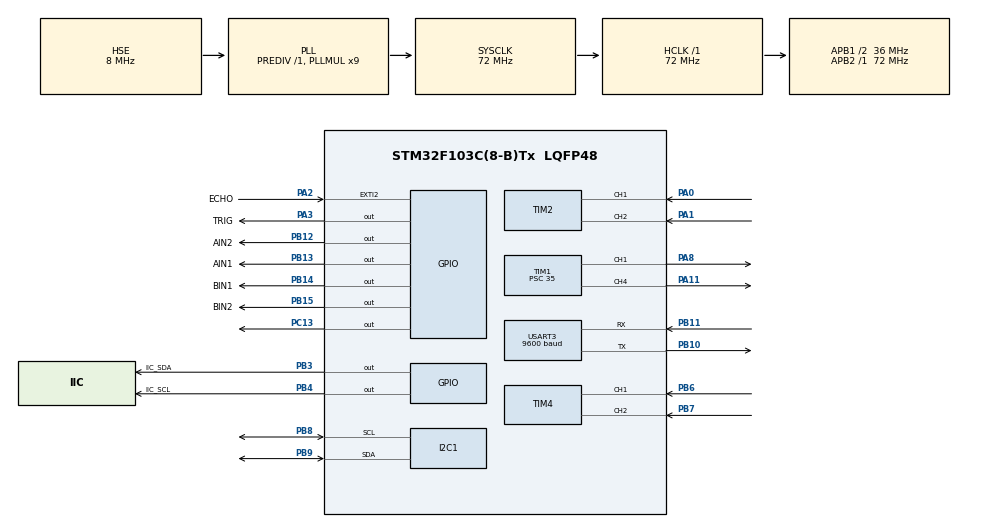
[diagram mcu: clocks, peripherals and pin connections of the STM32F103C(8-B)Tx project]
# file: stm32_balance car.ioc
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I2C1.I2C_Mode=I2C_Fast
Mcu.Family=STM32F1
Mcu.Name=STM32F103C(8-B)Tx
Mcu.Package=LQFP48
NVIC.EXTI2_IRQn=true\:3\:0\:true\:false\:true\:true\:true\:true
NVIC.PriorityGroup=NVIC_PRIORITYGROUP_4
NVIC.TIM3_IRQn=true\:0\:0\:false\:false\:true\:true\:true\:true
NVIC.USART3_IRQn=true\:1\:0\:true\:false\:true\:true\:true\:true
PA0-WKUP.GPIO_PuPd=GPIO_NOPULL
PA0-WKUP.Signal=S_TIM2_CH1_ETR
PA1.GPIO_PuPd=GPIO_NOPULL
PA1.Signal=S_TIM2_CH2
PA11.Signal=S_TIM1_CH4
PA13.Mode=Serial_Wire
PA13.Signal=SYS_JTMS-SWDIO
PA14.Mode=Serial_Wire
PA14.Signal=SYS_JTCK-SWCLK
PA2.GPIO_Label=ECHO
PA2.GPIO_ModeDefaultEXTI=GPIO_MODE_IT_RISING_FALLING
PA2.Signal=GPXTI2
PA3.GPIO_Label=TRIG
PA3.GPIO_PuPd=GPIO_PULLUP
PA3.GPIO_Speed=GPIO_SPEED_FREQ_HIGH
PA3.Signal=GPIO_Output
PA8.Signal=S_TIM1_CH1
PB10.Mode=Asynchronous
PB10.Signal=USART3_TX
PB11.Mode=Asynchronous
PB11.Signal=USART3_RX
PB12.GPIO_Label=AIN2
PB12.Signal=GPIO_Output
PB13.GPIO_Label=AIN1
PB13.Signal=GPIO_Output
PB14.GPIO_Label=BIN1
PB14.Signal=GPIO_Output
PB15.GPIO_Label=BIN2
PB15.Signal=GPIO_Output
PB3.GPIO_Label=IIC_SDA
PB3.GPIO_ModeDefaultOutputPP=GPIO_MODE_OUTPUT_OD
PB3.GPIO_PuPd=GPIO_PULLUP
PB3.PinState=GPIO_PIN_SET
PB3.Signal=GPIO_Output
PB4.GPIO_Label=IIC_SCL
PB4.GPIO_ModeDefaultOutputPP=GPIO_MODE_OUTPUT_OD
PB4.GPIO_PuPd=GPIO_PULLUP
PB4.PinState=GPIO_PIN_SET
PB4.Signal=GPIO_Output
PB6.GPIO_Mode=GPIO_MODE_INPUT
PB6.GPIO_PuPd=GPIO_NOPULL
PB6.Signal=S_TIM4_CH1
PB7.GPIO_PuPd=GPIO_NOPULL
PB7.Signal=S_TIM4_CH2
PB8.GPIO_Speed=GPIO_SPEED_FREQ_HIGH
PB8.Mode=I2C
PB8.Signal=I2C1_SCL
PB9.GPIO_Mode=GPIO_MODE_AF_OD
PB9.GPIO_Speed=GPIO_SPEED_FREQ_HIGH
PB9.Mode=I2C
PB9.Signal=I2C1_SDA
PC13-TAMPER-RTC.Signal=GPIO_Output
PC14-OSC32_IN.Mode=LSE-External-Oscillator
PC14-OSC32_IN.Signal=RCC_OSC32_IN
PC15-OSC32_OUT.Mode=LSE-External-Oscillator
PC15-OSC32_OUT.Signal=RCC_OSC32_OUT
PD0-OSC_IN.Mode=HSE-External-Oscillator
PD0-OSC_IN.Signal=RCC_OSC_IN
PD1-OSC_OUT.Mode=HSE-External-Oscillator
PD1-OSC_OUT.Signal=RCC_OSC_OUT
ProjectManager.HeapSize=0x200
ProjectManager.StackSize=0x400
ProjectManager.TargetToolchain=MDK-ARM V5.32
RCC.AHBFreq_Value=72000000
RCC.APB1CLKDivider=RCC_HCLK_DIV2
RCC.APB1Freq_Value=36000000
RCC.APB1TimFreq_Value=72000000
RCC.APB2Freq_Value=72000000
RCC.APB2TimFreq_Value=72000000
RCC.HCLKFreq_Value=72000000
RCC.PLLMUL=RCC_PLL_MUL9
RCC.PLLSourceVirtual=RCC_PLLSOURCE_HSE
RCC.SYSCLKFreq_VALUE=72000000
RCC.SYSCLKSource=RCC_SYSCLKSOURCE_PLLCLK
RCC.USBFreq_Value=72000000
SH.S_TIM1_CH1.0=TIM1_CH1,PWM Generation1 CH1
SH.S_TIM1_CH4.0=TIM1_CH4,PWM Generation4 CH4
SH.S_TIM2_CH1_ETR.0=TIM2_CH1,Encoder_Interface
SH.S_TIM2_CH2.0=TIM2_CH2,Encoder_Interface
SH.S_TIM4_CH1.0=TIM4_CH1,Encoder_Interface
SH.S_TIM4_CH2.0=TIM4_CH2,Encoder_Interface
TIM1.AutoReloadPreload=TIM_AUTORELOAD_PRELOAD_ENABLE
TIM1.Channel-PWM\ Generation1\ CH1=TIM_CHANNEL_1
TIM1.Channel-PWM\ Generation4\ CH4=TIM_CHANNEL_4
TIM1.Period=99
TIM1.Prescaler=35
TIM1.Pulse-PWM\ Generation1\ CH1=0
TIM1.Pulse-PWM\ Generation4\ CH4=0
TIM2.EncoderMode=TIM_ENCODERMODE_TI12
TIM3.AutoReloadPreload=TIM_AUTORELOAD_PRELOAD_ENABLE
TIM3.Period=999
TIM3.Prescaler=71
TIM4.EncoderMode=TIM_ENCODERMODE_TI12
USART3.BaudRate=9600
USART3.VirtualMode=VM_ASYNC
VP_TIM3_VS_ClockSourceINT.Mode=Internal
board=custom

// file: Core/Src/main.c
/* USER CODE BEGIN Header */
/**
  ******************************************************************************
  * @file           : main.c
  * @brief          : Main program body
  ******************************************************************************
  * @attention
  *
  * Copyright (c) 2026 STMicroelectronics.
  * All rights reserved.
  *
  * This software is licensed under terms that can be found in the LICENSE file
  * in the root directory of this software component.
  * If no LICENSE file comes with this software, it is provided AS-IS.
  *
  ******************************************************************************
  */
/* USER CODE END Header */
#include "main.h"
#include "i2c.h"
#include "tim.h"
#include "usart.h"
#include "gpio.h"

/* USER CODE BEGIN Includes */
#include "OLED.h"
#include "MPU6050.h"
#include "stdio.h"
#include "sr04.h"
#include "motor.h"
#include "encoder.h"
#include "string.h"
#include "task.h"
#include "pid.h"
#include "stdlib.h"
/* USER CODE END Includes */

/* USER CODE BEGIN PV */
int16_t AX, AY, AZ, GX, GY, GZ,Tem;
float AngleAcc;			//由加速度计得到的角度值
float AngleGyro;		//由陀螺仪得到的角度值，执行互补滤波后，此值基本与Angle相等
float Angle;			//互补滤波后的角度值，准确且无漂移

int Encoder_Left,Encoder_Right;
extern float distance;
uint8_t rx_buf[2];
char uart_buf[128];
uint8_t Rx_Flag;
char RxPacket[100];
int16_t LeftPWM, RightPWM;			//左PWM，右PWM
int16_t Ave_PWM, Dif_PWM;				//平均PWM，差分PWM

float LeftSpeed, RightSpeed;		//左速度，右速度
float AveSpeed, DifSpeed;			//平均速度，差分速度
uint8_t Run_Flag;
volatile uint8_t control_flag=0;
PID_TypeDef angle_pid={
	.Kp=0.0f,
	.Ki=0.0f,
	.Kd=0.0f,
	.out_max=90.0f
};
PID_TypeDef speed_pid={
	.Kp=0.0f,
	.Ki=0.0f,
	.Kd=0.0f,
	.integral_max=20,
	.out_max=8.0f
};
PID_TypeDef turn_pid=
{
	.Kp=0.0f,
	.Ki=0.0f,
	.Kd=0.0f,
	.out_max=20.0f
};
/* USER CODE END PV */

void SystemClock_Config(void);
/* USER CODE BEGIN PFP */
void Read(void);
int fputc(int c,FILE *stream);
static void OLED_Proc(void);
void Set_params(void);
void Control(void);

// DWT初始化，开启CYCCNT计数器
void DWT_Init(void)
{
    // 1. 开启DWT和ITM的时钟（必须）
    CoreDebug->DEMCR |= CoreDebug_DEMCR_TRCENA_Msk;
    // 2. 关闭CYCCNT计数器
    DWT->CTRL &= ~DWT_CTRL_CYCCNTENA_Msk;
    // 3. 清零CYCCNT计数器
    DWT->CYCCNT = 0;
    // 4. 开启CYCCNT计数器
    DWT->CTRL |= DWT_CTRL_CYCCNTENA_Msk;
}

// 读取当前CYCCNT计数器的值（单位：CPU时钟周期）
static inline uint32_t DWT_GetCycle(void)
{
    return DWT->CYCCNT;
}

// 延时函数：微秒级延时（单位：us）
void DWT_Delay_us(uint32_t us)
{
    uint32_t cycles = us * (SystemCoreClock / 1000000); // 换算成需要等待的周期数
    uint32_t start = DWT_GetCycle();
    while ((DWT_GetCycle() - start) < cycles);
}

// 测量一段代码的执行时间（返回单位：us）
float DWT_MeasureTime_us(void (*func)(void))
{
    uint32_t start, end;
    start = DWT_GetCycle();
    func();  // 执行你要测的函数，比如OLED_DMA_Refresh()
    end = DWT_GetCycle();
    return (float)(end - start) / (SystemCoreClock / 1000000);
}
/* USER CODE END PFP */

int main(void)
{

  /* MCU Configuration--------------------------------------------------------*/

  /* Reset of all peripherals, Initializes the Flash interface and the Systick. */
  HAL_Init();

  /* Configure the system clock */
  SystemClock_Config();

  /* Initialize all configured peripherals */
  MX_GPIO_Init();
  MX_I2C1_Init();
  MX_TIM3_Init();
  MX_TIM1_Init();
  MX_TIM2_Init();
  MX_TIM4_Init();
  MX_USART3_UART_Init();
  /* USER CODE BEGIN 2 */
  IIC_Init();
  OLED_Init();
  MPU6050_Init();
  OLED_Clear();
  HAL_TIM_PWM_Start(&htim1,TIM_CHANNEL_1);
  HAL_TIM_PWM_Start(&htim1,TIM_CHANNEL_4);
  HAL_TIM_Encoder_Start(&htim2,TIM_CHANNEL_ALL);
  HAL_TIM_Encoder_Start(&htim4,TIM_CHANNEL_ALL);
  HAL_UART_Receive_IT(&huart3,rx_buf,1);
  Load(0,0);
  MPU6050_SetMode(MODE_COMPLEMENTARY);
  HAL_TIM_Base_Start_IT(&htim3);
  DWT_Init();
  /* USER CODE END 2 */

  /* Infinite loop */
  /* USER CODE BEGIN WHILE */
  PID_Init(&angle_pid);
  PID_Init(&speed_pid);
  PID_Init(&turn_pid);
  Run_Flag=1;
  while (1)
  {
	  Set_params();
	  if(control_flag)
	  {
		  control_flag=0;
		  Control();
	  }
  }
    /* USER CODE END WHILE */

}

void SystemClock_Config(void)
{
  RCC_OscInitTypeDef RCC_OscInitStruct = {0};
  RCC_ClkInitTypeDef RCC_ClkInitStruct = {0};

  /** Initializes the RCC Oscillators according to the specified parameters
  * in the RCC_OscInitTypeDef structure.
  */
  RCC_OscInitStruct.OscillatorType = RCC_OSCILLATORTYPE_HSE;
  RCC_OscInitStruct.HSEState = RCC_HSE_ON;
  RCC_OscInitStruct.HSEPredivValue = RCC_HSE_PREDIV_DIV1;
  RCC_OscInitStruct.HSIState = RCC_HSI_ON;
  RCC_OscInitStruct.PLL.PLLState = RCC_PLL_ON;
  RCC_OscInitStruct.PLL.PLLSource = RCC_PLLSOURCE_HSE;
  RCC_OscInitStruct.PLL.PLLMUL = RCC_PLL_MUL9;
  if (HAL_RCC_OscConfig(&RCC_OscInitStruct) != HAL_OK)
  {
    Error_Handler();
  }

  /** Initializes the CPU, AHB and APB buses clocks
  */
  RCC_ClkInitStruct.ClockType = RCC_CLOCKTYPE_HCLK|RCC_CLOCKTYPE_SYSCLK
                              |RCC_CLOCKTYPE_PCLK1|RCC_CLOCKTYPE_PCLK2;
  RCC_ClkInitStruct.SYSCLKSource = RCC_SYSCLKSOURCE_PLLCLK;
  RCC_ClkInitStruct.AHBCLKDivider = RCC_SYSCLK_DIV1;
  RCC_ClkInitStruct.APB1CLKDivider = RCC_HCLK_DIV2;
  RCC_ClkInitStruct.APB2CLKDivider = RCC_HCLK_DIV1;

  if (HAL_RCC_ClockConfig(&RCC_ClkInitStruct, FLASH_LATENCY_2) != HAL_OK)
  {
    Error_Handler();
  }
}

/* USER CODE BEGIN 4 */
void Read(void)
{
	static float AveSpeed_Filtered = 0;
	Encoder_Left=Read_Speed(&htim2);
	Encoder_Right=-Read_Speed(&htim4);

	LeftSpeed=Encoder_Left/13.0f/4.0f/20.0f/0.01f;
	RightSpeed=Encoder_Right/13.0f/4.0f/20.0f/0.01f;

	AveSpeed_Filtered = AveSpeed_Filtered * 0.8f + ((LeftSpeed+RightSpeed)/2.0f) * 0.2f;
	AveSpeed = AveSpeed_Filtered;
	DifSpeed=LeftSpeed-RightSpeed;

}

int fputc(int c,FILE *stream)
{
	uint8_t ch[1]={c};
	HAL_UART_Transmit(&huart3,ch,1,0xFFFF);
	return c;
}

void Set_params(void)
{
	if(Rx_Flag==1)
	{
		char *Tag=strtok(RxPacket,",");
		if(strcmp(Tag,"slider")==0)
		{
			char *Name=strtok(NULL,",");
			char *Value=strtok(NULL,",");

			if(strcmp(Name,"angle_kp")==0)
			{
				angle_pid.Kp=atof(Value);
			}
			else if(strcmp(Name,"angle_ki")==0)
			{
				angle_pid.Ki=atof(Value);
			}
			else if(strcmp(Name,"angle_kd")==0)
			{
				angle_pid.Kd=atof(Value);
			}
			else if(strcmp(Name,"speed_kp")==0)
			{
				speed_pid.Kp=atof(Value);
			}
			else if(strcmp(Name,"speed_ki")==0)
			{
				speed_pid.Ki=atof(Value);
			}
			else if(strcmp(Name,"speed_kd")==0)
			{
				speed_pid.Kd=atof(Value);
			}
			else if(strcmp(Name,"turn_kp")==0)
			{
				turn_pid.Kp=atof(Value);
			}
			else if(strcmp(Name,"turn_ki")==0)
			{
				turn_pid.Ki=atof(Value);
			}
			else if(strcmp(Name,"turn_kd")==0)
			{
				turn_pid.Kd=atof(Value);
			}

		}
		else if (strcmp(Tag, "joystick") == 0)			//Tag为joystick，收到摇杆数据包
			{
				int8_t LH = atoi(strtok(NULL, ","));		//提取数据2，定义为摇杆值LH
				int8_t LV = atoi(strtok(NULL, ","));		//提取数据3，定义为摇杆值LV
				int8_t RH = atoi(strtok(NULL, ","));		//提取数据4，定义为摇杆值RH
				int8_t RV = atoi(strtok(NULL, ","));		//提取数据5，定义为摇杆值RV

				/*执行摇杆操作*/
				speed_pid.target = LV / 25.0;	//摇杆值LV缩放后，控制速度环目标值，前后行进控制
				turn_pid.target = RH / 2;				//摇杆值RH缩放后，控制差分PWM，左右转弯控制
			}

			Rx_Flag=0;

	}
//	printf("[plot,%f,%f]",angle_pid.target,angle_pid.actual);
}

void Control(void)
{
		MPU6050_Mode_Update();
		angle_pid.actual = MPU6050_GetPitch();
//		OLED_Clear();
//	    OLED_Printf(0,0,12,"Pitch:%f",angle_pid.actual);
//		OLED_Update();
//	printf("Pitch:%f\r\n",angle_pid.actual);
		 /* 超限保护 */
		if (angle_pid.actual > 50.0f || angle_pid.actual < -50.0f)
		{
			Load(0,0);
			Run_Flag=0;
		}
		if(Run_Flag)
		{
		speed_pid.actual=AveSpeed;

		PID_Calculate(&speed_pid);
		angle_pid.target=-speed_pid.out-2.95f;

		PID_Calculate(&angle_pid);
		Ave_PWM = -((int)angle_pid.out);

		turn_pid.actual=DifSpeed;
		PID_Calculate(&turn_pid);
		Dif_PWM=turn_pid.out;

		LeftPWM = Ave_PWM + Dif_PWM/2;
		RightPWM = Ave_PWM - Dif_PWM/2;

		/* 输出限幅 */
		if (LeftPWM > 100) LeftPWM = 100;
		if (LeftPWM < -100) LeftPWM = -100;
		if (RightPWM > 100) RightPWM = 100;
		if (RightPWM < -100) RightPWM = -100;

		Load(LeftPWM, RightPWM);
	    }
		else
		{
		Load(0,0);
		}

}
void HAL_UART_RxCpltCallback(UART_HandleTypeDef *huart)
{
	static uint8_t RxState=0;
	static uint8_t pRxPacket=0;

	if(huart->Instance==USART3)
	{
		if(RxState==0)
		{
			if(rx_buf[0]=='['&&Rx_Flag==0)
			{
				RxState=1;
				pRxPacket=0;
			}
		}

		else if(RxState==1)
		{
			if(rx_buf[0]==']')
			{
				RxState=0;
				RxPacket[pRxPacket]='\0';
				Rx_Flag=1;
			}
			else
		{
			RxPacket[pRxPacket]=rx_buf[0];
			pRxPacket++;
		}
		}

		HAL_UART_Receive_IT(&huart3,rx_buf,1);
	}
}

void HAL_TIM_PeriodElapsedCallback(TIM_HandleTypeDef *htim)
{
	static uint16_t Count0,Count1;
	if (htim->Instance == TIM3)
	 {
		Count0++;
		 if(Count0>=10)
		 {
			Count0=0;
			control_flag=1;
		 }
		 Count1++;
		 if(Count1>=10)
		 {
			Count1=0;
			 Read();
		 }

	 }
}
/* USER CODE END 4 */

void Error_Handler(void)
{
  __disable_irq();
  while (1)
  {
  }
}
